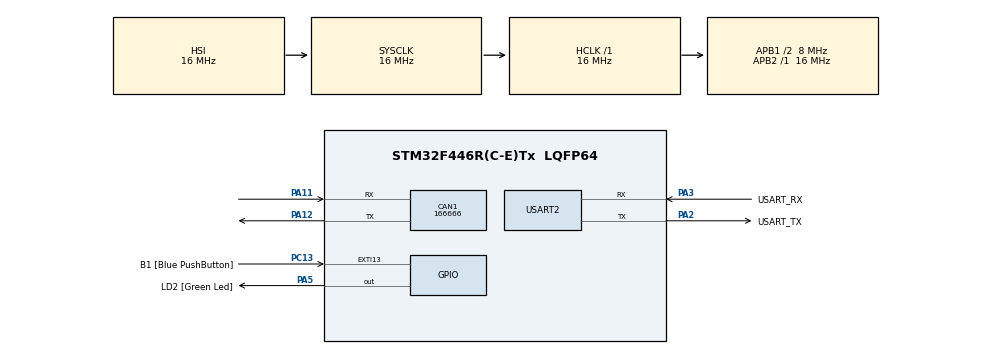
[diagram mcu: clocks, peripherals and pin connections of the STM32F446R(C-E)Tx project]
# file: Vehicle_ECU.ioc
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CAN1.CalculateBaudRate=166666
CAN1.CalculateTimeBit=6000
CAN1.CalculateTimeQuantum=2000.0
CAN1.Mode=CAN_MODE_LOOPBACK
CAN1.NART=ENABLE
FREERTOS.Tasks01=defaultTask,24,128,StartDefaultTask,Default,NULL,Dynamic,NULL,NULL
FREERTOS.configUSE_NEWLIB_REENTRANT=1
Mcu.Family=STM32F4
Mcu.Name=STM32F446R(C-E)Tx
Mcu.Package=LQFP64
NVIC.CAN1_RX0_IRQn=true\:5\:0\:false\:false\:true\:true\:true\:true\:true
NVIC.PriorityGroup=NVIC_PRIORITYGROUP_4
NVIC.USART2_IRQn=true\:5\:0\:false\:false\:true\:true\:true\:true\:true
PA11.GPIO_PuPd=GPIO_PULLUP
PA11.Mode=CAN_Activate
PA11.Signal=CAN1_RX
PA12.Mode=CAN_Activate
PA12.Signal=CAN1_TX
PA13.GPIO_Label=TMS
PA13.Mode=Serial_Wire
PA13.Signal=SYS_JTMS-SWDIO
PA14.GPIO_Label=TCK
PA14.Mode=Serial_Wire
PA14.Signal=SYS_JTCK-SWCLK
PA2.GPIO_Label=USART_TX
PA2.Mode=Asynchronous
PA2.Signal=USART2_TX
PA3.GPIO_Label=USART_RX
PA3.Mode=Asynchronous
PA3.Signal=USART2_RX
PA5.GPIO_Label=LD2 [Green Led]
PA5.Signal=GPIO_Output
PB3.GPIO_Label=SWO
PB3.Signal=SYS_JTDO-SWO
PC13.GPIO_Label=B1 [Blue PushButton]
PC13.GPIO_ModeDefaultEXTI=GPIO_MODE_IT_FALLING
PC13.Signal=GPXTI13
PC14-OSC32_IN.Mode=LSE-External-Oscillator
PC14-OSC32_IN.Signal=RCC_OSC32_IN
PC15-OSC32_OUT.Mode=LSE-External-Oscillator
PC15-OSC32_OUT.Signal=RCC_OSC32_OUT
PH0-OSC_IN.Mode=HSE-External-Oscillator
PH0-OSC_IN.Signal=RCC_OSC_IN
PH1-OSC_OUT.Mode=HSE-External-Oscillator
PH1-OSC_OUT.Signal=RCC_OSC_OUT
ProjectManager.HeapSize=0x200
ProjectManager.StackSize=0x400
ProjectManager.TargetToolchain=STM32CubeIDE
RCC.48MHZClocksFreq_Value=84000000
RCC.AHBFreq_Value=16000000
RCC.APB1CLKDivider=RCC_HCLK_DIV2
RCC.APB1Freq_Value=8000000
RCC.APB1TimFreq_Value=16000000
RCC.APB2Freq_Value=16000000
RCC.APB2TimFreq_Value=16000000
RCC.CortexFreq_Value=16000000
RCC.FLatency-AdvancedSettings=FLASH_LATENCY_0
RCC.HCLKFreq_Value=16000000
RCC.HSE_VALUE=8000000
RCC.HSI_VALUE=16000000
RCC.PLLN=336
RCC.PLLP=RCC_PLLP_DIV4
RCC.SYSCLKFreq_VALUE=16000000
RCC.USBFreq_Value=168000000
RCC.VCOOutputFreq_Value=336000000
USART2.VirtualMode=VM_ASYNC
VP_FREERTOS_VS_CMSIS_V2.Mode=CMSIS_V2
board=NUCLEO-F446RE

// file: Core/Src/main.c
/* USER CODE BEGIN Header */
/**
  ******************************************************************************
  * @file           : main.c
  * @brief          : Main program body
  ******************************************************************************
  * @attention
  *
  * Copyright (c) 2025 STMicroelectronics.
  * All rights reserved.
  *
  * This software is licensed under terms that can be found in the LICENSE file
  * in the root directory of this software component.
  * If no LICENSE file comes with this software, it is provided AS-IS.
  *
  ******************************************************************************
  */
/* USER CODE END Header */
#include "main.h"
#include "cmsis_os.h"

/* USER CODE BEGIN Includes */
#include <string.h>
#include <stdio.h>
#include "vehicle.h"
#include "can_if.h"
#include "cli_if.h"
/* USER CODE END Includes */

/* USER CODE BEGIN PD */
/*
 * Project: Mini ECU – CAN + FreeRTOS Telemetry Node
 *
 * Version history (high level):
 *   v1.0 - Basic timer-driven LED + UART logger (no RTOS).
 *   v1.1 - UART CLI with interrupt-driven RX.
 *   v2.0 - FreeRTOS tasks + CAN loopback telemetry.
 *   v2.1 - CAN_IF abstraction, RX queue, CLI-controlled logging.
 *   v2.2 - VehicleState model + CLI control + CAN telemetry integration.
 */
/* USER CODE END PD */

CAN_HandleTypeDef hcan1;

UART_HandleTypeDef huart2;

/* Definitions for defaultTask (kept for CubeMX compatibility, currently unused) */
osThreadId_t defaultTaskHandle;
const osThreadAttr_t defaultTask_attributes = {
  .name = "defaultTask",
  .stack_size = 128 * 4,
  .priority = (osPriority_t) osPriorityNormal,
};
/* USER CODE BEGIN PV */

/* Global vehicle state shared between tasks */
VehicleState_t g_vehicle;

/* RTOS task handles */
static osThreadId_t vehicleTaskHandle;
static osThreadId_t cliTaskHandle;
static osThreadId_t canRxTaskHandle;

/* RTOS task attributes */
static const osThreadAttr_t canRxTask_attributes = {
  .name       = "CanRxTask",
  .priority   = osPriorityBelowNormal,
  .stack_size = 256 * 4
};

static const osThreadAttr_t vehicleTask_attributes = {
  .name       = "VehicleTask",
  .priority   = osPriorityNormal,
  .stack_size = 256 * 4
};

static const osThreadAttr_t cliTask_attributes = {
  .name       = "CliTask",
  .priority   = osPriorityAboveNormal,
  .stack_size = 256 * 4
};
/* USER CODE END PV */

void SystemClock_Config(void);
static void MX_GPIO_Init(void);
static void MX_CAN1_Init(void);
static void MX_USART2_UART_Init(void);
void StartDefaultTask(void *argument);

/* USER CODE BEGIN PFP */
static void VehicleTask(void *argument);
static void CliTask(void *argument);
static void CanRxTask(void *argument);
static void uart_print(const char *s);
/* USER CODE END PFP */

/* USER CODE BEGIN 0 */

static void uart_print(const char *s)
{
  HAL_UART_Transmit(&huart2, (uint8_t *)s, strlen(s), HAL_MAX_DELAY);
}

/* USER CODE END 0 */

int main(void)
{

  /* MCU Configuration--------------------------------------------------------*/

  /* Reset of all peripherals, Initializes the Flash interface and the Systick. */
  HAL_Init();

  /* Configure the system clock */
  SystemClock_Config();

  /* Initialize all configured peripherals */
  MX_GPIO_Init();
  MX_CAN1_Init();
  MX_USART2_UART_Init();
  /* USER CODE BEGIN 2 */
  uart_print("\r\n=== Mini ECU – CAN + RTOS Telemetry Node ===\r\n");

  /* Initialize vehicle model */
  Vehicle_Init(&g_vehicle);

  /* Initialize CAN interface (filters, start, queue, notifications) */
  if (CAN_IF_Init() != HAL_OK)
  {
    uart_print("CAN_IF_Init FAILED, halting\r\n");
    Error_Handler();
  }

  /* Initialize CLI interface (starts UART RX internally) */
  CLI_IF_Init(&huart2, &g_vehicle);

  uart_print("Init complete, creating RTOS tasks...\r\n");

  /* Initialize the RTOS kernel */
  osKernelInitialize();

  /* Create VehicleTask: updates model + sends telemetry */
  vehicleTaskHandle = osThreadNew(VehicleTask, NULL, &vehicleTask_attributes);

  /* Create CliTask: runs CLI_IF_Task() in a loop */
  cliTaskHandle = osThreadNew(CliTask, NULL, &cliTask_attributes);

  /* Create CAN RX task: consumes messages from CAN_IF RX queue */
  canRxTaskHandle = osThreadNew(CanRxTask, NULL, &canRxTask_attributes);

  /* Start the RTOS scheduler (never returns) */
  osKernelStart();

  /* We should never reach here */
  uart_print("ERROR: osKernelStart returned!\r\n");

  /* USER CODE END 2 */

  /* Infinite loop (should never execute with RTOS running) */
  while (1)
  {

  }
}

void SystemClock_Config(void)
{
  RCC_OscInitTypeDef RCC_OscInitStruct = {0};
  RCC_ClkInitTypeDef RCC_ClkInitStruct = {0};

  /** Configure the main internal regulator output voltage
  */
  __HAL_RCC_PWR_CLK_ENABLE();
  __HAL_PWR_VOLTAGESCALING_CONFIG(PWR_REGULATOR_VOLTAGE_SCALE3);

  /** Initializes the RCC Oscillators according to the specified parameters
  * in the RCC_OscInitTypeDef structure.
  */
  RCC_OscInitStruct.OscillatorType = RCC_OSCILLATORTYPE_HSI;
  RCC_OscInitStruct.HSIState = RCC_HSI_ON;
  RCC_OscInitStruct.HSICalibrationValue = RCC_HSICALIBRATION_DEFAULT;
  RCC_OscInitStruct.PLL.PLLState = RCC_PLL_NONE;
  if (HAL_RCC_OscConfig(&RCC_OscInitStruct) != HAL_OK)
  {
    Error_Handler();
  }

  /** Initializes the CPU, AHB and APB buses clocks
  */
  RCC_ClkInitStruct.ClockType = RCC_CLOCKTYPE_HCLK|RCC_CLOCKTYPE_SYSCLK
                              |RCC_CLOCKTYPE_PCLK1|RCC_CLOCKTYPE_PCLK2;
  RCC_ClkInitStruct.SYSCLKSource = RCC_SYSCLKSOURCE_HSI;
  RCC_ClkInitStruct.AHBCLKDivider = RCC_SYSCLK_DIV1;
  RCC_ClkInitStruct.APB1CLKDivider = RCC_HCLK_DIV2;
  RCC_ClkInitStruct.APB2CLKDivider = RCC_HCLK_DIV1;

  if (HAL_RCC_ClockConfig(&RCC_ClkInitStruct, FLASH_LATENCY_0) != HAL_OK)
  {
    Error_Handler();
  }
}

static void MX_CAN1_Init(void)
{

  /* USER CODE BEGIN CAN1_Init 1 */
  /* Leave reset handling to HAL – no manual FORCE_RESET here */
  /* USER CODE END CAN1_Init 1 */

  hcan1.Instance = CAN1;

  /* Typical, safe timing for F4 (APB1 = 45 MHz):
     - Prescaler = 16
     - 1 (sync) + 13 + 2 = 16 TQ per bit
     => ~ 45 MHz / (16 * 16) ≈ 175 kbps (exact speed isn’t critical in loopback)
  */
  hcan1.Init.Prescaler           = 16;
  hcan1.Init.Mode                = CAN_MODE_LOOPBACK;   // single-board testing
  hcan1.Init.SyncJumpWidth       = CAN_SJW_1TQ;
  hcan1.Init.TimeSeg1            = CAN_BS1_13TQ;
  hcan1.Init.TimeSeg2            = CAN_BS2_2TQ;
  hcan1.Init.TimeTriggeredMode   = DISABLE;
  hcan1.Init.AutoBusOff          = DISABLE;
  hcan1.Init.AutoWakeUp          = DISABLE;
  hcan1.Init.AutoRetransmission  = ENABLE;
  hcan1.Init.ReceiveFifoLocked   = DISABLE;
  hcan1.Init.TransmitFifoPriority= DISABLE;

  if (HAL_CAN_Init(&hcan1) != HAL_OK)
  {
    Error_Handler();
  }

}

static void MX_USART2_UART_Init(void)
{

  huart2.Instance = USART2;
  huart2.Init.BaudRate = 115200;
  huart2.Init.WordLength = UART_WORDLENGTH_8B;
  huart2.Init.StopBits = UART_STOPBITS_1;
  huart2.Init.Parity = UART_PARITY_NONE;
  huart2.Init.Mode = UART_MODE_TX_RX;
  huart2.Init.HwFlowCtl = UART_HWCONTROL_NONE;
  huart2.Init.OverSampling = UART_OVERSAMPLING_16;
  if (HAL_UART_Init(&huart2) != HAL_OK)
  {
    Error_Handler();
  }

}

static void MX_GPIO_Init(void)
{
  GPIO_InitTypeDef GPIO_InitStruct = {0};

  /* GPIO Ports Clock Enable */
  __HAL_RCC_GPIOC_CLK_ENABLE();
  __HAL_RCC_GPIOH_CLK_ENABLE();
  __HAL_RCC_GPIOA_CLK_ENABLE();
  __HAL_RCC_GPIOB_CLK_ENABLE();

  /*Configure GPIO pin Output Level */
  HAL_GPIO_WritePin(LD2_GPIO_Port, LD2_Pin, GPIO_PIN_RESET);

  /*Configure GPIO pin : B1_Pin */
  GPIO_InitStruct.Pin = B1_Pin;
  GPIO_InitStruct.Mode = GPIO_MODE_IT_FALLING;
  GPIO_InitStruct.Pull = GPIO_NOPULL;
  HAL_GPIO_Init(B1_GPIO_Port, &GPIO_InitStruct);

  /*Configure GPIO pin : LD2_Pin */
  GPIO_InitStruct.Pin = LD2_Pin;
  GPIO_InitStruct.Mode = GPIO_MODE_OUTPUT_PP;
  GPIO_InitStruct.Pull = GPIO_NOPULL;
  GPIO_InitStruct.Speed = GPIO_SPEED_FREQ_LOW;
  HAL_GPIO_Init(LD2_GPIO_Port, &GPIO_InitStruct);

}

/* USER CODE BEGIN 4 */

/**
  * @brief Task that updates the vehicle model and sends CAN telemetry.
  */
static void VehicleTask(void *argument)
{
  (void)argument;

  const uint32_t period_ms = 100U;
  uint32_t last_wake = osKernelGetTickCount();

  for (;;)
  {
    /* 0.1 s step */
    Vehicle_Update(&g_vehicle, 0.1f);

    /* Broadcast telemetry on CAN */
    (void)CAN_IF_SendTelemetry(&g_vehicle);

    last_wake += period_ms;
    (void)osDelayUntil(last_wake);
  }
}

/**
  * @brief Task that runs the CLI interface.
  *
  * CLI_IF_Task() drains the ring buffer and parses commands.
  */
static void CliTask(void *argument)
{
  (void)argument;

  for (;;)
  {
    CLI_IF_Task();
    /* Small delay to yield CPU; CLI_IF_Task is non-blocking */
    osDelay(10);
  }
}

/**
  * @brief Task that waits for CAN frames and lets CAN_IF process them.
  */
static void CanRxTask(void *argument)
{
  (void)argument;

  osMessageQueueId_t q = CAN_IF_GetRxQueueHandle();
  if (q == NULL)
  {
    uart_print("CanRxTask: RX queue is NULL!\r\n");
    /* Loop with delay rather than crashing */
    for (;;)
    {
      osDelay(1000);
    }
  }

  for (;;)
  {
    CAN_IF_Msg_t msg;
    /* Wait forever for next CAN message */
    if (osMessageQueueGet(q, &msg, NULL, osWaitForever) == osOK)
    {
      /* Let CAN interface layer handle/log the message */
      CAN_IF_ProcessRxMsg(&msg);
    }
  }
}

/* USER CODE END 4 */

/* USER CODE BEGIN Header_StartDefaultTask */
/**
  * @brief  Function implementing the defaultTask thread.
  *         Currently unused; kept for CubeMX compatibility.
  * @param  argument: Not used
  * @retval None
  */
/* USER CODE END Header_StartDefaultTask */
void StartDefaultTask(void *argument)
{
  for(;;)
  {
    osDelay(1);
  }
}

void Error_Handler(void)
{
  __disable_irq();
  while (1)
  {
  }
}
